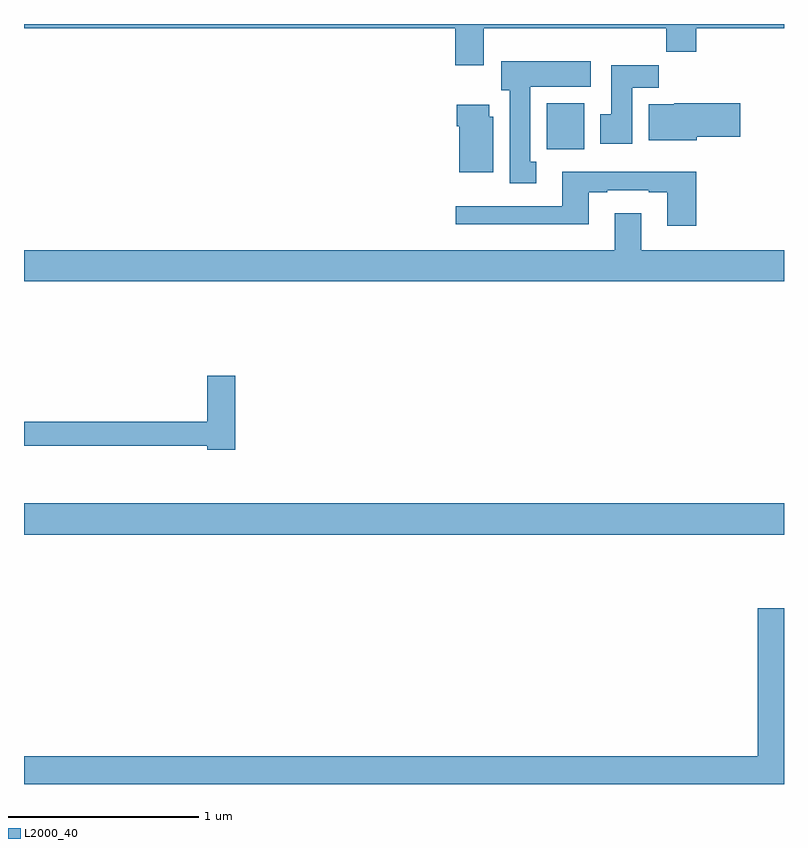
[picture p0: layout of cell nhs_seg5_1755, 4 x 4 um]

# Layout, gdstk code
import gdstk
lib = gdstk.Library(unit=1e-6, precision=1e-09)
def R(c, l, rs):  # rectangles x0, y0, x1, y1
    for r in rs: c.add(gdstk.rectangle(r[:2], r[2:], *l))
def P(c, l, *ps):  # polygons
    for p in ps: c.add(gdstk.Polygon(p, *l))
L2000_40 = (2000, 40)

nhs_seg5_1755 = lib.new_cell('nhs_seg5_1755')
R(nhs_seg5_1755, L2000_40, [(217,838.112,221,838.276), (219.752,840.14,219.949,840.382)])
P(nhs_seg5_1755, L2000_40, [(217,840.776),(219.269,840.776),(219.269,840.582),(219.421,840.582),(219.421,840.776),(220.381,840.776),(220.381,840.652),(220.538,840.652),(220.538,840.776),(221,840.776),(221,840.799),(217,840.799)],
  [(219.697,840.074),(219.664,840.074),(219.664,840.47),(219.982,840.47),(219.982,840.604),(219.512,840.604),(219.512,840.45),(219.557,840.45),(219.557,839.961),(219.697,839.961)],
  [(220.201,840.464),(220.34,840.464),(220.34,840.583),(220.091,840.583),(220.091,840.324),(220.034,840.324),(220.034,840.168),(220.201,840.168)],
  [(220.54,840.206),(220.771,840.206),(220.771,840.382),(220.422,840.382),(220.422,840.376),(220.289,840.376),(220.289,840.188),(220.54,840.188)],
  [(219.469,840.312),(219.448,840.312),(219.448,840.373),(219.278,840.373),(219.278,840.26),(219.29,840.26),(219.29,840.02),(219.469,840.02)],
  [(220.538,840.022),(219.833,840.022),(219.833,839.841),(219.273,839.841),(219.273,839.744),(219.973,839.744),(219.973,839.913),(220.069,839.913),(220.069,839.925),(220.289,839.925),(220.289,839.913),(220.385,839.913),(220.385,839.736),(220.538,839.736)],
  [(221,839.608),(220.249,839.608),(220.249,839.803),(220.109,839.803),(220.109,839.608),(217,839.608),(217,839.444),(221,839.444)],
  [(218.111,838.948),(217.964,838.948),(217.964,838.706),(217,838.706),(217,838.578),(217.964,838.578),(217.964,838.559),(218.111,838.559)],
  [(221,837.724),(220.862,837.724),(220.862,836.944),(217,836.944),(217,836.799),(221,836.799)])

lib.write_gds('nhs_seg5_1755.gds')
